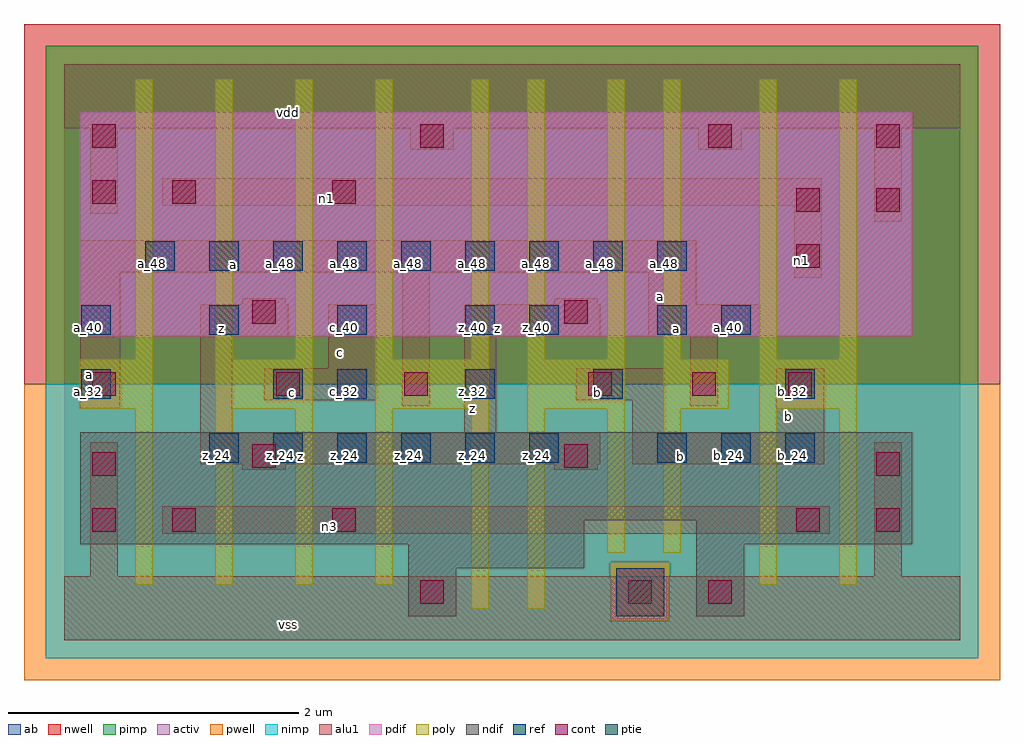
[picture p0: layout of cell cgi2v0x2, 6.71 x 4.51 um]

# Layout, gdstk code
import gdstk
lib = gdstk.Library(unit=1e-6, precision=2.5e-09)
def R(c, l, rs):  # rectangles x0, y0, x1, y1
    for r in rs: c.add(gdstk.rectangle(r[:2], r[2:], *l))
def A(c, l, x, y, w, h, nx, ny, dx, dy):  # array of equal rectangles
    R(c, l, [(x+i*dx, y+j*dy, x+i*dx+w, y+j*dy+h) for i in range(nx) for j in range(ny)])
ndif = (3, 0)
pdif = (4, 0)
ptie = (6, 0)
ref = (24, 0)
cont = (25, 0)
pwell = (41, 0)
nwell = (42, 0)
activ = (43, 0)
pimp = (44, 0)
nimp = (45, 0)
poly = (46, 0)
alu1 = (49, 0)
ab = (63, 0)

cgi2v0x2 = lib.new_cell('cgi2v0x2')
R(cgi2v0x2, ndif, [(2.365,0.165,2.695,0.495), (4.345,0.165,4.675,0.66), (2.365,0.495,3.575,0.66), (0.11,0.66,3.575,0.825), (4.345,0.66,5.83,0.825), (0.11,0.825,5.83,1.43)])
R(cgi2v0x2, pdif, [(0.11,2.09,5.83,3.63)])
R(cgi2v0x2, ptie, [(3.795,0.165,4.125,0.495)])
A(cgi2v0x2, ref, 1, 1.22, 0.2, 0.2, 6, 1, 0.44, 0)
A(cgi2v0x2, ref, 4.08, 1.22, 0.2, 0.2, 3, 1, 0.44, 0)
A(cgi2v0x2, ref, 1.88, 1.66, 0.2, 0.2, 3, 1, 0.88, 0)
A(cgi2v0x2, ref, 0.12, 2.1, 0.2, 0.2, 4, 1, 0.88, 0)
A(cgi2v0x2, ref, 0.56, 2.54, 0.2, 0.2, 9, 1, 0.44, 0)
R(cgi2v0x2, ref, [(0.12,1.66,0.32,1.86), (1.44,1.66,1.64,1.86), (4.96,1.66,5.16,1.86), (3.2,2.1,3.4,2.3), (4.08,2.1,4.28,2.3), (4.52,2.1,4.72,2.3)])
R(cgi2v0x2, cont, [(2.45,0.25,2.61,0.41), (3.88,0.25,4.04,0.41), (4.43,0.25,4.59,0.41), (0.195,0.745,0.355,0.905), (0.745,0.745,0.905,0.905), (1.845,0.745,2.005,0.905), (5.035,0.745,5.195,0.905), (5.585,0.745,5.745,0.905), (0.195,1.13,0.355,1.29), (5.585,1.13,5.745,1.29), (1.295,1.185,1.455,1.345), (3.44,1.185,3.6,1.345), (0.195,1.68,0.355,1.84), (1.46,1.68,1.62,1.84), (2.34,1.68,2.5,1.84), (3.605,1.68,3.765,1.84), (4.32,1.68,4.48,1.84), (4.98,1.68,5.14,1.84), (1.295,2.175,1.455,2.335), (3.44,2.175,3.6,2.335), (5.035,2.56,5.195,2.72), (5.035,2.945,5.195,3.105), (5.585,2.945,5.745,3.105), (0.195,3,0.355,3.16), (0.745,3,0.905,3.16), (1.845,3,2.005,3.16), (0.195,3.385,0.355,3.545), (2.45,3.385,2.61,3.545), (4.43,3.385,4.59,3.545), (5.585,3.385,5.745,3.545)])
R(cgi2v0x2, pwell, [(-0.275,-0.275,6.435,1.76)])
R(cgi2v0x2, nwell, [(-0.275,1.76,6.435,4.235)])
R(cgi2v0x2, activ, [(2.365,0.165,2.695,0.495), (3.795,0.165,4.125,0.495), (4.345,0.165,4.675,0.66), (2.365,0.495,3.575,0.66), (0.11,0.66,3.575,0.825), (4.345,0.66,5.83,0.825), (0.11,0.825,5.83,1.43), (0.11,2.09,5.83,3.63)])
R(cgi2v0x2, pimp, [(3.755,0.125,4.165,0.535), (-0.125,1.76,6.285,4.085)])
R(cgi2v0x2, nimp, [(-0.125,-0.125,6.285,0.125), (-0.125,0.125,3.755,0.535), (4.165,0.125,6.285,0.535), (-0.125,0.535,6.285,1.76)])
A(cgi2v0x2, poly, 0.49, 0.38, 0.12, 1.21, 4, 1, 0.55, 0)
A(cgi2v0x2, poly, 0.49, 1.93, 0.12, 1.925, 4, 1, 0.55, 0)
R(cgi2v0x2, poly, [(2.8,0.215,2.92,1.59), (3.185,0.215,3.305,1.59), (4.78,0.38,4.9,1.59), (5.33,0.38,5.45,1.59), (3.735,0.6,3.855,1.59), (4.12,0.6,4.24,1.59), (0.105,1.59,0.61,1.93), (1.04,1.59,1.71,1.93), (2.14,1.59,2.92,1.93), (3.185,1.59,3.855,1.93), (4.12,1.59,4.57,1.93), (4.78,1.59,5.45,1.93), (2.8,1.93,2.92,3.855), (3.185,1.93,3.305,3.855), (3.735,1.93,3.855,3.855), (4.12,1.93,4.24,3.855), (4.78,1.93,4.9,3.855), (5.33,1.93,5.45,3.855)])
R(cgi2v0x2, alu1, [(0,0,6.16,0.44), (0.18,0.44,0.37,1.36), (5.57,0.44,5.76,1.36), (0.675,0.73,5.265,0.92), (1.225,1.17,1.525,1.21), (3.37,1.17,3.67,1.21), (0.935,1.21,3.685,1.43), (3.905,1.21,5.225,1.43), (0.935,1.43,1.155,2.09), (2.75,1.43,2.97,2.09), (3.905,1.43,4.125,1.65), (4.895,1.43,5.225,1.87), (0.11,1.595,0.385,2.53), (2.325,1.61,2.515,2.53), (4.305,1.61,4.495,2.09), (1.375,1.65,2.145,1.87), (3.52,1.65,4.125,1.87), (1.815,1.87,2.145,2.31), (0.935,2.09,1.54,2.31), (2.75,2.09,3.685,2.31), (4.015,2.09,4.785,2.31), (1.225,2.31,1.525,2.35), (3.37,2.31,3.67,2.35), (4.015,2.31,4.345,2.53), (5.02,2.49,5.21,2.985), (0.11,2.53,4.345,2.75), (5.57,2.875,5.76,3.52), (0.18,2.93,0.37,3.52), (0.675,2.985,5.21,3.175), (2.38,3.37,2.68,3.52), (4.36,3.37,4.66,3.52), (0,3.52,6.16,3.96)])
R(cgi2v0x2, ab, [(0,0,6.16,3.96)])
cgi2v0x2.add(gdstk.Label('vss', (1.54,0.11), layer=49, texttype=0))
cgi2v0x2.add(gdstk.Label('n3', (1.8225,0.7775), layer=49, texttype=0))
cgi2v0x2.add(gdstk.Label('b', (4.235,1.265), layer=49, texttype=0))
cgi2v0x2.add(gdstk.Label('z', (1.6225,1.265), layer=49, texttype=0))
cgi2v0x2.add(gdstk.Label('b', (4.9775,1.54), layer=49, texttype=0))
cgi2v0x2.add(gdstk.Label('b', (3.67,1.705), layer=49, texttype=0))
cgi2v0x2.add(gdstk.Label('z', (2.805,1.595), layer=49, texttype=0))
cgi2v0x2.add(gdstk.Label('a', (4.2075,2.145), layer=49, texttype=0))
cgi2v0x2.add(gdstk.Label('z', (2.9825,2.145), layer=49, texttype=0))
cgi2v0x2.add(gdstk.Label('n1', (5.0675,2.6125), layer=49, texttype=0))
cgi2v0x2.add(gdstk.Label('a', (4.0975,2.365), layer=49, texttype=0))
cgi2v0x2.add(gdstk.Label('c', (1.5675,1.705), layer=49, texttype=0))
cgi2v0x2.add(gdstk.Label('c', (1.8975,1.98), layer=49, texttype=0))
cgi2v0x2.add(gdstk.Label('z', (1.085,2.145), layer=49, texttype=0))
cgi2v0x2.add(gdstk.Label('a', (0.1775,1.8275), layer=49, texttype=0))
cgi2v0x2.add(gdstk.Label('a', (1.1675,2.585), layer=49, texttype=0))
cgi2v0x2.add(gdstk.Label('n1', (1.8075,3.0325), layer=49, texttype=0))
cgi2v0x2.add(gdstk.Label('vdd', (1.54,3.63), layer=49, texttype=0))
cgi2v0x2.add(gdstk.Label('b_32', (5.01,1.71), layer=24, texttype=0))
cgi2v0x2.add(gdstk.Label('b_24', (5.01,1.27), layer=24, texttype=0))
cgi2v0x2.add(gdstk.Label('a_40', (4.57,2.15), layer=24, texttype=0))
cgi2v0x2.add(gdstk.Label('b_24', (4.57,1.27), layer=24, texttype=0))
cgi2v0x2.add(gdstk.Label('a_48', (4.13,2.59), layer=24, texttype=0))
cgi2v0x2.add(gdstk.Label('a_40', (4.13,2.15), layer=24, texttype=0))
cgi2v0x2.add(gdstk.Label('b_24', (4.13,1.27), layer=24, texttype=0))
cgi2v0x2.add(gdstk.Label('a_48', (3.69,2.59), layer=24, texttype=0))
cgi2v0x2.add(gdstk.Label('b_32', (3.69,1.71), layer=24, texttype=0))
cgi2v0x2.add(gdstk.Label('a_48', (3.25,2.59), layer=24, texttype=0))
cgi2v0x2.add(gdstk.Label('z_40', (3.25,2.15), layer=24, texttype=0))
cgi2v0x2.add(gdstk.Label('z_24', (3.25,1.27), layer=24, texttype=0))
cgi2v0x2.add(gdstk.Label('a_48', (2.81,2.59), layer=24, texttype=0))
cgi2v0x2.add(gdstk.Label('z_40', (2.81,2.15), layer=24, texttype=0))
cgi2v0x2.add(gdstk.Label('z_32', (2.81,1.71), layer=24, texttype=0))
cgi2v0x2.add(gdstk.Label('z_24', (2.81,1.27), layer=24, texttype=0))
cgi2v0x2.add(gdstk.Label('a_48', (2.37,2.59), layer=24, texttype=0))
cgi2v0x2.add(gdstk.Label('z_24', (2.37,1.27), layer=24, texttype=0))
cgi2v0x2.add(gdstk.Label('a_40', (0.17,2.15), layer=24, texttype=0))
cgi2v0x2.add(gdstk.Label('a_32', (0.17,1.71), layer=24, texttype=0))
cgi2v0x2.add(gdstk.Label('a_48', (1.93,2.59), layer=24, texttype=0))
cgi2v0x2.add(gdstk.Label('c_40', (1.93,2.15), layer=24, texttype=0))
cgi2v0x2.add(gdstk.Label('c_32', (1.93,1.71), layer=24, texttype=0))
cgi2v0x2.add(gdstk.Label('z_24', (1.93,1.27), layer=24, texttype=0))
cgi2v0x2.add(gdstk.Label('a_48', (1.49,2.59), layer=24, texttype=0))
cgi2v0x2.add(gdstk.Label('c_32', (1.49,1.71), layer=24, texttype=0))
cgi2v0x2.add(gdstk.Label('z_24', (1.49,1.27), layer=24, texttype=0))
cgi2v0x2.add(gdstk.Label('a_48', (1.05,2.59), layer=24, texttype=0))
cgi2v0x2.add(gdstk.Label('z_40', (1.05,2.15), layer=24, texttype=0))
cgi2v0x2.add(gdstk.Label('z_24', (1.05,1.27), layer=24, texttype=0))
cgi2v0x2.add(gdstk.Label('a_48', (0.61,2.59), layer=24, texttype=0))

lib.write_gds('cgi2v0x2.gds')
